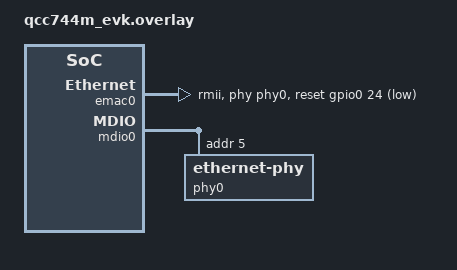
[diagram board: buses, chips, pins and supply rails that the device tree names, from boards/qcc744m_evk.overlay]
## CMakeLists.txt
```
# Copyright (c) 2026 Qualcomm Technologies, Inc. and/or its subsidiaries
# SPDX-License-Identifier: BSD-3-Clause

cmake_minimum_required(VERSION 3.20.0)
find_package(Zephyr REQUIRED HINTS $ENV{ZEPHYR_BASE})
project(demo_ethernet)
target_sources(app PRIVATE src/main.c)
```

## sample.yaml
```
# Copyright (c) 2026 Qualcomm Technologies, Inc. and/or its subsidiaries
# SPDX-License-Identifier: BSD-3-Clause

sample:
  name: Ethernet smoke test for QCC7xx

common:
  depends_on: eth
  tags:
    - net
    - ethernet
    - netif:eth
  timeout: 60
  harness: console
  harness_config:
    type: multi_line
    ordered: true
    regex:
      - "ETHERNET SMOKE TEST PASSED"

tests:
  qcc7xx.sample.net.ethernet:
    platform_allow:
      - qcc744m_evk
      - qcc748m_evk
```

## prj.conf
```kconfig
# Copyright (c) 2026 Qualcomm Technologies, Inc. and/or its subsidiaries
# SPDX-License-Identifier: BSD-3-Clause

# Networking
CONFIG_NETWORKING=y
CONFIG_NET_L2_ETHERNET=y
CONFIG_NET_IPV4=y
CONFIG_NET_IPV6=y
CONFIG_NET_SOCKETS=y
CONFIG_POSIX_API=y
CONFIG_NET_CONNECTION_MANAGER=y
CONFIG_NET_TCP=y
CONFIG_NET_UDP=y
CONFIG_NET_ARP=y
CONFIG_NET_MGMT=y
CONFIG_NET_MGMT_EVENT=y

# Stack(s)
CONFIG_NET_CONNECTION_MANAGER_MONITOR_STACK_SIZE=2048
CONFIG_SHELL_STACK_SIZE=8192
CONFIG_NET_TX_STACK_SIZE=8192
CONFIG_NET_RX_STACK_SIZE=8192

# dhcp4
CONFIG_NET_DHCPV4=y
CONFIG_DNS_RESOLVER=y
CONFIG_DNS_RESOLVER_MAX_SERVERS=4
CONFIG_NET_DHCPV4_OPTION_CALLBACKS=y
CONFIG_DNS_RESOLVER_ADDITIONAL_BUF_CTR=5
CONFIG_DNS_RESOLVER_ADDITIONAL_QUERIES=2
CONFIG_MDNS_RESOLVER=y
CONFIG_LLMNR_RESOLVER=n

# Network buffers
CONFIG_NET_PKT_RX_COUNT=84
CONFIG_NET_PKT_TX_COUNT=84
CONFIG_NET_BUF_RX_COUNT=84
CONFIG_NET_BUF_TX_COUNT=84
CONFIG_NET_CONTEXT_NET_PKT_POOL=y
CONFIG_NET_BUF_DATA_SIZE=1600
CONFIG_NET_BUF_ALIGNMENT=32
CONFIG_NET_TCP_MAX_RECV_WINDOW_SIZE=64240
CONFIG_NET_TCP_MAX_SEND_WINDOW_SIZE=64240

# IP address options
CONFIG_NET_IF_UNICAST_IPV6_ADDR_COUNT=3
CONFIG_NET_IF_MCAST_IPV6_ADDR_COUNT=4
CONFIG_NET_IF_UNICAST_IPV4_ADDR_COUNT=3
CONFIG_NET_IF_MCAST_IPV4_ADDR_COUNT=4
CONFIG_NET_MAX_CONTEXTS=20
CONFIG_NET_MAX_CONN=20

# Number of socket descriptors
CONFIG_ZVFS_OPEN_MAX=16
CONFIG_ZVFS_POLL_MAX=16

# Kernel options
CONFIG_MAIN_STACK_SIZE=4096
CONFIG_ENTROPY_GENERATOR=y
CONFIG_INIT_STACKS=y

# Shell
CONFIG_SHELL=y
CONFIG_SHELL_BACKEND_SERIAL=y
CONFIG_NET_SHELL=y

# zperf
CONFIG_NET_ZPERF=y

# Logging
CONFIG_LOG=y
CONFIG_NET_LOG=y
CONFIG_NET_DHCPV4_LOG_LEVEL_WRN=y
CONFIG_NET_CORE_LOG_LEVEL_WRN=y
CONFIG_NET_SOCKETS_LOG_LEVEL_WRN=y
#CONFIG_NET_PKT_LOG_LEVEL_WRN=y
CONFIG_NET_IF_LOG_LEVEL_WRN=y
CONFIG_NET_TCP_LOG_LEVEL_WRN=y
CONFIG_NET_UDP_LOG_LEVEL_WRN=y
CONFIG_NET_DHCPV4_LOG_LEVEL_WRN=y
CONFIG_NET_PKT_LOG_LEVEL_WRN=y
CONFIG_NET_STATISTICS=y

# Drivers logging
CONFIG_ETHERNET_LOG_LEVEL_WRN=y
CONFIG_MDIO_LOG_LEVEL_WRN=y

# Optimization
CONFIG_SPEED_OPTIMIZATIONS=y
```

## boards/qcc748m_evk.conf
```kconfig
# Copyright (c) 2026 Qualcomm Technologies, Inc. and/or its subsidiaries
# SPDX-License-Identifier: BSD-3-Clause
#
# QCC748M EVK: default 84 * 1600B packet buffers overflow 320KB SRAM.
# Reduce counts to stay within memory limits.

CONFIG_NET_PKT_RX_COUNT=8
CONFIG_NET_PKT_TX_COUNT=8
CONFIG_NET_BUF_RX_COUNT=8
CONFIG_NET_BUF_TX_COUNT=8
CONFIG_NET_BUF_DATA_SIZE=1500

# Disable IPv6: with only 8 RX buffers, router RA flooding starves ARP/DHCP/ICMP
CONFIG_NET_IPV6=n
```

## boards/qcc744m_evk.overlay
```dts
/*
 * Copyright (c) 2026 Qualcomm Technologies, Inc. and/or its subsidiaries
 *
 * SPDX-License-Identifier: BSD-3-Clause
 */

/ {
	aliases {
		ethernet0 = &emac0;
	};
};

&emac0 {
	status = "okay";
	phy-connection-type = "rmii";
	ref-clk-output = <0>;
	rx-clk-invert = <1>;
	local-mac-address = [ 18 B9 05 12 34 56 ];
	phy-handle = <&phy0>;

	reset-gpios = <&gpio0 24 GPIO_ACTIVE_LOW>; /* optional */
	pinctrl-0 = <&emac0_default>;
	pinctrl-names = "default";
};

&mdio0 {
	status = "okay";
	clk_div = <39>;
	pinctrl-0 = <&mdio0_default>;
	pinctrl-names = "default";

	phy0: ethernet-phy@5 {
	reg = <5>;  /* PHY 5 - AR8032, 1 - LAN8720 */
	compatible = "ethernet-phy";
	};
};

&pinctrl {
	emac0_default: emac0_default {
	group1 {
		pinmux = <GPIO25_RMII_REF_CLK>,
			<GPIO26_RMII_TXD0>,
			<GPIO27_RMII_TXD1>,
			<GPIO28_RMII_RXD0>,
			<GPIO29_RMII_RXD1>,
			<GPIO30_RMII_RXERR>,
			<GPIO31_RMII_TX_EN>,
			<GPIO32_RMII_RX_DV>;
			bias-pull-up;
			input-schmitt-enable;
			drive-strength = <1>;
			input-enable;
		};
	};
	mdio0_default: mdio0_default {
	group1 {
		pinmux = <GPIO33_RMII_MDC>,
			<GPIO34_RMII_MDIO>;
			bias-pull-up;
			input-schmitt-enable;
			drive-strength = <1>;
			input-enable;
		};
	};
};
```

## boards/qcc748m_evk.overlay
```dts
/*
 * Copyright (c) 2026 Qualcomm Technologies, Inc. and/or its subsidiaries
 *
 * SPDX-License-Identifier: BSD-3-Clause
 */

/ {
	aliases {
		ethernet0 = &emac0;
	};
};

&emac0 {
	status = "okay";
	phy-connection-type = "rmii";
	ref-clk-output = <0>;
	rx-clk-invert = <1>;
	local-mac-address = [ 18 B9 05 12 34 56 ];
	phy-handle = <&phy0>;

	reset-gpios = <&gpio0 24 GPIO_ACTIVE_LOW>; /* optional */
	pinctrl-0 = <&emac0_default>;
	pinctrl-names = "default";
};

&mdio0 {
	status = "okay";
	clk_div = <39>;
	pinctrl-0 = <&mdio0_default>;
	pinctrl-names = "default";

	phy0: ethernet-phy@1 {
	reg = <1>;  /* PHY 1 - LAN8720, 5 - AR8032 */
	compatible = "ethernet-phy";
	};
};

&pinctrl {
	emac0_default: emac0_default {
	group1 {
		pinmux = <EMAC_REF_CLK_GPIO25>,
			<EMAC_TXD0_GPIO26>,
			<EMAC_TXD1_GPIO27>,
			<EMAC_RXD0_GPIO28>,
			<EMAC_RXD1_GPIO29>,
			<EMAC_RXERR_GPIO30>,
			<EMAC_TX_EN_GPIO31>,
			<EMAC_RX_DV_GPIO32>;
			bias-pull-up;
			input-schmitt-enable;
			drive-strength = <1>;
			input-enable;
		};
	};
	mdio0_default: mdio0_default {
	group1 {
		pinmux = <EMAC_MDC_GPIO33>,
			<EMAC_MDIO_GPIO34>;
			bias-pull-up;
			input-schmitt-enable;
			drive-strength = <1>;
			input-enable;
		};
	};
};
```

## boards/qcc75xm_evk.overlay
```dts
/*
 * Copyright (c) 2026 Qualcomm Technologies, Inc. and/or its subsidiaries
 *
 * SPDX-License-Identifier: BSD-3-Clause
 */

/ {
	chosen {
		zephyr,sram = &psram;
	};
};

&psram {
	status = "okay";
};

/ {
	aliases {
		ethernet0 = &emac0;
	};
};

&emac0 {
	status = "okay";
	phy-connection-type = "rmii";
	ref-clk-output = <0>;
	rx-clk-invert = <1>;
	local-mac-address = [ 18 B9 05 12 34 56 ];
	phy-handle = <&phy0>;

	reset-gpios = <&gpio0 24 GPIO_ACTIVE_LOW>; /* optional */
	pinctrl-0 = <&emac0_default>;
	pinctrl-names = "default";
};

&mdio0 {
	status = "okay";
	clk_div = <39>;
	pinctrl-0 = <&mdio0_default>;
	pinctrl-names = "default";

	phy0: ethernet-phy@5 {
	reg = <5>;  /* PHY 5 - AR8032, 1 - LAN8720 */
	compatible = "ethernet-phy";
	};
};

&pinctrl {
	emac0_default: emac0_default {
	group1 {
		pinmux = <GPIO27_EMAC0_REF_CLK>,
			<GPIO28_EMAC0_TXD0>,
			<GPIO29_EMAC0_TXD1>,
			<GPIO30_EMAC0_RXD0>,
			<GPIO31_EMAC0_RXD1>,
			<GPIO32_EMAC0_RX_ERR>,
			<GPIO16_EMAC0_TX_EN>,
			<GPIO33_EMAC0_RX_DV>;
			bias-pull-up;
			input-schmitt-enable;
			drive-strength = <1>;
			input-enable;
		};
	};
	mdio0_default: mdio0_default {
	group1 {
		pinmux = <GPIO18_EMAC0_MDC>,
			<GPIO17_EMAC0_MDIO>;
			bias-pull-up;
			input-schmitt-enable;
			drive-strength = <1>;
			input-enable;
		};
	};
};
```

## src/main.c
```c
/*
 * Copyright (c) 2026 Qualcomm Technologies, Inc. and/or its subsidiaries
 * SPDX-License-Identifier: BSD-3-Clause
 */

#include <zephyr/kernel.h>
#include <zephyr/logging/log.h>
#include <zephyr/net/net_if.h>
#include <zephyr/net/net_core.h>
#include <zephyr/net/net_ip.h>
#include <zephyr/net/dhcpv4.h>

LOG_MODULE_REGISTER(eth_smoke, LOG_LEVEL_DBG);

int main(void)
{
	LOG_INF("Ethernet smoke test starting");

	struct net_if *iface = net_if_get_default();

	if (!iface) {
		LOG_ERR("No default network interface found");
		printk("ETHERNET SMOKE TEST FAILED: no interface\n");
		return -1;
	}

	LOG_INF("Default interface: %p", iface);

	int ret = net_if_up(iface);

	if (ret != 0 && ret != -EALREADY) {
		LOG_ERR("Failed to bring up Ethernet interface: %d", ret);
		printk("ETHERNET SMOKE TEST FAILED: net_if_up error %d\n", ret);
		return ret;
	}

	if (ret == -EALREADY) {
		LOG_INF("Ethernet interface up (ret=-EALREADY: already started by AUTO_START)");
	} else {
		LOG_INF("Ethernet interface up (ret=0: brought up now)");
	}

	bool carrier = net_if_is_carrier_ok(iface);
	bool admin   = net_if_is_admin_up(iface);
	LOG_INF("Interface state: admin=%s carrier=%s",
		admin   ? "UP" : "DOWN",
		carrier ? "ON" : "OFF");

	net_dhcpv4_start(iface);
	LOG_INF("DHCPv4 client started");
	printk("ETHERNET SMOKE TEST PASSED\n");

	return 0;
}
```
